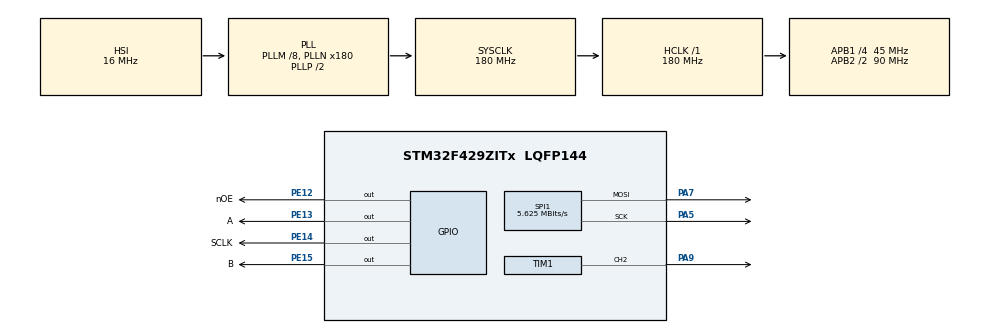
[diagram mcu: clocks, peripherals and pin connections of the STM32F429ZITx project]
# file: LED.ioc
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Mcu.Family=STM32F4
Mcu.Name=STM32F429ZITx
Mcu.Package=LQFP144
NVIC.PriorityGroup=NVIC_PRIORITYGROUP_4
NVIC.SPI1_IRQn=true\:0\:0\:false\:false\:true\:true\:true\:true
NVIC.TIM1_UP_TIM10_IRQn=true\:0\:0\:false\:false\:true\:true\:true\:true
PA13.Mode=Serial_Wire
PA13.Signal=SYS_JTMS-SWDIO
PA14.Mode=Serial_Wire
PA14.Signal=SYS_JTCK-SWCLK
PA5.Mode=TX_Only_Simplex_Unidirect_Master
PA5.Signal=SPI1_SCK
PA7.Mode=TX_Only_Simplex_Unidirect_Master
PA7.Signal=SPI1_MOSI
PA9.Signal=S_TIM1_CH2
PE12.GPIO_Label=nOE
PE12.Signal=GPIO_Output
PE13.GPIO_Label=A
PE13.Signal=GPIO_Output
PE14.GPIO_Label=SCLK
PE14.Signal=GPIO_Output
PE15.GPIO_Label=B
PE15.Signal=GPIO_Output
PH0/OSC_IN.Mode=HSE-External-Oscillator
PH0/OSC_IN.Signal=RCC_OSC_IN
PH1/OSC_OUT.Mode=HSE-External-Oscillator
PH1/OSC_OUT.Signal=RCC_OSC_OUT
ProjectManager.HeapSize=0x200
ProjectManager.StackSize=0x400
ProjectManager.TargetToolchain=STM32CubeIDE
RCC.48MHZClocksFreq_Value=90000000
RCC.AHBFreq_Value=180000000
RCC.APB1CLKDivider=RCC_HCLK_DIV4
RCC.APB1Freq_Value=45000000
RCC.APB1TimFreq_Value=90000000
RCC.APB2CLKDivider=RCC_HCLK_DIV2
RCC.APB2Freq_Value=90000000
RCC.APB2TimFreq_Value=180000000
RCC.CortexFreq_Value=180000000
RCC.HCLKFreq_Value=180000000
RCC.HSE_VALUE=25000000
RCC.HSI_VALUE=16000000
RCC.LSE_VALUE=32768
RCC.PLLM=8
RCC.PLLN=180
RCC.SYSCLKFreq_VALUE=180000000
RCC.SYSCLKSource=RCC_SYSCLKSOURCE_PLLCLK
RCC.VCOOutputFreq_Value=360000000
SH.S_TIM1_CH2.0=TIM1_CH2,Output Compare2 CH2
SPI1.BaudRatePrescaler=SPI_BAUDRATEPRESCALER_16
SPI1.CLKPolarity=SPI_POLARITY_LOW
SPI1.CalculateBaudRate=5.625 MBits/s
SPI1.DataSize=SPI_DATASIZE_8BIT
SPI1.Direction=SPI_DIRECTION_2LINES
SPI1.Mode=SPI_MODE_MASTER
SPI1.VirtualType=VM_MASTER
TIM1.Channel-Output\ Compare2\ CH2=TIM_CHANNEL_2
TIM1.Period=60000-1
TIM1.Prescaler=3000-1
VP_TIM1_VS_ClockSourceINT.Mode=Internal
board=custom

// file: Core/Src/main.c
/* USER CODE BEGIN Header */
/**
  ******************************************************************************
  * @file           : main.c
  * @brief          : Main program body
  ******************************************************************************
  * @attention
  *
  * Copyright (c) 2023 STMicroelectronics.
  * All rights reserved.
  *
  * This software is licensed under terms that can be found in the LICENSE file
  * in the root directory of this software component.
  * If no LICENSE file comes with this software, it is provided AS-IS.
  *
  ******************************************************************************
  */
/* USER CODE END Header */
#include "main.h"

/* USER CODE BEGIN Includes */
#include "../inc/P10.h"
/* USER CODE END Includes */

SPI_HandleTypeDef hspi1;

TIM_HandleTypeDef htim1;

/* USER CODE BEGIN PV */
volatile uint16_t i = 0;
volatile uint16_t k = 0;
uint8_t pData[16];
Pixel pix[8];
//координаты для передней стенки
uint16_t front_lu_angle_x = 10;
uint16_t front_lu_angle_y = 10;

uint16_t front_ru_angle_x = 16;
uint16_t front_ru_angle_y = 10;

uint16_t front_rd_angle_x = 16;
uint16_t front_rd_angle_y = 4;

uint16_t front_ld_angle_x = 10;
uint16_t front_ld_angle_y = 4;

//координаты для задней стенки
uint16_t back_lu_angle_x = 16;
uint16_t back_lu_angle_y = 10;

uint16_t back_ru_angle_x = 22;
uint16_t back_ru_angle_y = 10;

uint16_t back_rd_angle_x = 22;
uint16_t back_rd_angle_y = 4;

uint16_t back_ld_angle_x = 16;
uint16_t back_ld_angle_y = 4;

/* USER CODE END PV */

void SystemClock_Config(void);
static void MX_GPIO_Init(void);
static void MX_SPI1_Init(void);
static void MX_TIM1_Init(void);

/* USER CODE BEGIN 0 */
void part_0_0() {
	HAL_GPIO_WritePin(GPIOE, nOE_Pin, GPIO_PIN_RESET);
	HAL_GPIO_WritePin(GPIOE, A_Pin, GPIO_PIN_RESET);
	HAL_GPIO_WritePin(GPIOE, B_Pin, GPIO_PIN_RESET);
	HAL_GPIO_WritePin(GPIOE, SCLK_Pin, GPIO_PIN_RESET);
	HAL_SPI_Transmit(&hspi1, (uint8_t*) pData, 16, 10);
	HAL_GPIO_WritePin(GPIOE, SCLK_Pin, GPIO_PIN_SET);
	HAL_GPIO_WritePin(GPIOE, nOE_Pin, GPIO_PIN_SET);
}

void part_0_1() {
	HAL_GPIO_WritePin(GPIOE, nOE_Pin, GPIO_PIN_RESET);
	HAL_GPIO_WritePin(GPIOE, A_Pin, GPIO_PIN_SET);
	HAL_GPIO_WritePin(GPIOE, B_Pin, GPIO_PIN_RESET);
	HAL_GPIO_WritePin(GPIOE, SCLK_Pin, GPIO_PIN_RESET);
	HAL_SPI_Transmit(&hspi1, (uint8_t*) pData, 16, 10);
	HAL_GPIO_WritePin(GPIOE, SCLK_Pin, GPIO_PIN_SET);
	HAL_GPIO_WritePin(GPIOE, nOE_Pin, GPIO_PIN_SET);
}

void part_1_0() {
	HAL_GPIO_WritePin(GPIOE, nOE_Pin, GPIO_PIN_RESET);
	HAL_GPIO_WritePin(GPIOE, A_Pin, GPIO_PIN_RESET);
	HAL_GPIO_WritePin(GPIOE, B_Pin, GPIO_PIN_SET);
	HAL_GPIO_WritePin(GPIOE, SCLK_Pin, GPIO_PIN_RESET);
	HAL_SPI_Transmit(&hspi1, (uint8_t*) pData, 16, 10);
	HAL_GPIO_WritePin(GPIOE, SCLK_Pin, GPIO_PIN_SET);
	HAL_GPIO_WritePin(GPIOE, nOE_Pin, GPIO_PIN_SET);
}

void part_1_1() {
	HAL_GPIO_WritePin(GPIOE, nOE_Pin, GPIO_PIN_RESET);
	HAL_GPIO_WritePin(GPIOE, A_Pin, GPIO_PIN_SET);
	HAL_GPIO_WritePin(GPIOE, B_Pin, GPIO_PIN_SET);
	HAL_GPIO_WritePin(GPIOE, SCLK_Pin, GPIO_PIN_RESET);
	HAL_SPI_Transmit(&hspi1, (uint8_t*) pData, 16, 10);
	HAL_GPIO_WritePin(GPIOE, SCLK_Pin, GPIO_PIN_SET);
	HAL_GPIO_WritePin(GPIOE, nOE_Pin, GPIO_PIN_SET);
}
/* USER CODE END 0 */

int main(void)
{

  /* MCU Configuration--------------------------------------------------------*/

  /* Reset of all peripherals, Initializes the Flash interface and the Systick. */
  HAL_Init();

  /* Configure the system clock */
  SystemClock_Config();

  /* Initialize all configured peripherals */
  MX_GPIO_Init();
  MX_SPI1_Init();
  MX_TIM1_Init();
  /* USER CODE BEGIN 2 */
  HAL_TIM_Base_Start_IT(&htim1);
  /* USER CODE END 2 */

  /* Infinite loop */
  while (1)
  {

    /* USER CODE BEGIN 3 */

		//вершины передней стенки
		pix[0].x = (front_lu_angle_x + i + k);
		pix[0].y = (front_lu_angle_y - i + k);
		pix[1].x = (front_ru_angle_x - i - k);
		pix[1].y = (front_ru_angle_y + i - k);
		pix[2].x = (front_rd_angle_x - i - k);
		pix[2].y = (front_rd_angle_y + i - k);
		pix[3].x = (front_ld_angle_x + i + k);
		pix[3].y = (front_ld_angle_y - i + k);
		//вершины задней стенки
		pix[4].x = (back_lu_angle_x + i + k);
		pix[4].y = (back_lu_angle_y - i + k);
		pix[5].x = (back_ru_angle_x - i - k);
		pix[5].y = (back_ru_angle_y + i - k);
		pix[6].x = (back_rd_angle_x - i - k);
		pix[6].y = (back_rd_angle_y + i - k);
		pix[7].x = (back_ld_angle_x + i + k);
		pix[7].y = (back_ld_angle_y - i + k);
//передняя стенка
//1
		clearScreen((uint8_t*) &pData);
		drawLine(pix[0], pix[1], (uint8_t*) &pData, P10AB_11);
		part_1_1();
		clearScreen((uint8_t*) &pData);
		drawLine(pix[0], pix[1], (uint8_t*) &pData, P10AB_10);
		part_1_0();
		clearScreen((uint8_t*) &pData);
		drawLine(pix[0], pix[1], (uint8_t*) &pData, P10AB_01);
		part_0_1();
		clearScreen((uint8_t*) &pData);
		drawLine(pix[0], pix[1], (uint8_t*) &pData, P10AB_00);
		part_0_0();
//2
		clearScreen((uint8_t*) &pData);
		drawLine(pix[1], pix[2], (uint8_t*) &pData, P10AB_11);
		part_1_1();
		clearScreen((uint8_t*) &pData);
		drawLine(pix[1], pix[2], (uint8_t*) &pData, P10AB_10);
		part_1_0();
		clearScreen((uint8_t*) &pData);
		drawLine(pix[1], pix[2], (uint8_t*) &pData, P10AB_01);
		part_0_1();
		clearScreen((uint8_t*) &pData);
		drawLine(pix[1], pix[2], (uint8_t*) &pData, P10AB_00);
		part_0_0();
//3
		clearScreen((uint8_t*) &pData);
		drawLine(pix[2], pix[3], (uint8_t*) &pData, P10AB_11);
		part_1_1();
		clearScreen((uint8_t*) &pData);
		drawLine(pix[2], pix[3], (uint8_t*) &pData, P10AB_10);
		part_1_0();
		clearScreen((uint8_t*) &pData);
		drawLine(pix[2], pix[3], (uint8_t*) &pData, P10AB_01);
		part_0_1();
		clearScreen((uint8_t*) &pData);
		drawLine(pix[2], pix[3], (uint8_t*) &pData, P10AB_00);
		part_0_0();
//4
		clearScreen((uint8_t*) &pData);
		drawLine(pix[0], pix[3], (uint8_t*) &pData, P10AB_11);
		part_1_1();
		clearScreen((uint8_t*) &pData);
		drawLine(pix[0], pix[3], (uint8_t*) &pData, P10AB_10);
		part_1_0();
		clearScreen((uint8_t*) &pData);
		drawLine(pix[0], pix[3], (uint8_t*) &pData, P10AB_01);
		part_0_1();
		clearScreen((uint8_t*) &pData);
		drawLine(pix[0], pix[3], (uint8_t*) &pData, P10AB_00);
		part_0_0();

//задняя стенка
//1
		clearScreen((uint8_t*) pData);
		drawLine(pix[4], pix[5], (uint8_t*) pData, P10AB_11);
		part_1_1();
		clearScreen((uint8_t*) pData);
		drawLine(pix[4], pix[5], (uint8_t*) pData, P10AB_10);
		part_1_0();
		clearScreen((uint8_t*) pData);
		drawLine(pix[4], pix[5], (uint8_t*) pData, P10AB_01);
		part_0_1();
		clearScreen((uint8_t*) pData);
		drawLine(pix[4], pix[5], (uint8_t*) pData, P10AB_00);
		part_0_0();
//2
		clearScreen((uint8_t*) pData);
		drawLine(pix[5], pix[6], (uint8_t*) pData, P10AB_11);
		part_1_1();
		clearScreen((uint8_t*) pData);
		drawLine(pix[5], pix[6], (uint8_t*) pData, P10AB_10);
		part_1_0();
		clearScreen((uint8_t*) pData);
		drawLine(pix[5], pix[6], (uint8_t*) pData, P10AB_01);
		part_0_1();
		clearScreen((uint8_t*) pData);
		drawLine(pix[5], pix[6], (uint8_t*) pData, P10AB_00);
		part_0_0();
//3
		clearScreen((uint8_t*) pData);
		drawLine(pix[6], pix[7], (uint8_t*) pData, P10AB_11);
		part_1_1();
		clearScreen((uint8_t*) pData);
		drawLine(pix[6], pix[7], (uint8_t*) pData, P10AB_10);
		part_1_0();
		clearScreen((uint8_t*) pData);
		drawLine(pix[6], pix[7], (uint8_t*) pData, P10AB_01);
		part_0_1();
		clearScreen((uint8_t*) pData);
		drawLine(pix[6], pix[7], (uint8_t*) pData, P10AB_00);
		part_0_0();
//4
		clearScreen((uint8_t*) pData);
		drawLine(pix[7], pix[4], (uint8_t*) pData, P10AB_11);
		part_1_1();
		clearScreen((uint8_t*) pData);
		drawLine(pix[7], pix[4], (uint8_t*) pData, P10AB_10);
		part_1_0();
		clearScreen((uint8_t*) pData);
		drawLine(pix[7], pix[4], (uint8_t*) pData, P10AB_01);
		part_0_1();
		clearScreen((uint8_t*) pData);
		drawLine(pix[7], pix[4], (uint8_t*) pData, P10AB_00);
		part_0_0();

//соединения
//1
		clearScreen((uint8_t*) pData);
		drawLine(pix[0], pix[4], (uint8_t*) pData, P10AB_11);
		part_1_1();
		clearScreen((uint8_t*) pData);
		drawLine(pix[0], pix[4], (uint8_t*) pData, P10AB_10);
		part_1_0();
		clearScreen((uint8_t*) pData);
		drawLine(pix[0], pix[4], (uint8_t*) pData, P10AB_01);
		part_0_1();
		clearScreen((uint8_t*) pData);
		drawLine(pix[0], pix[4], (uint8_t*) pData, P10AB_00);
		part_0_0();
//2
		clearScreen((uint8_t*) pData);
		drawLine(pix[1], pix[5], (uint8_t*) pData, P10AB_11);
		part_1_1();
		clearScreen((uint8_t*) pData);
		drawLine(pix[1], pix[5], (uint8_t*) pData, P10AB_10);
		part_1_0();
		clearScreen((uint8_t*) pData);
		drawLine(pix[1], pix[5], (uint8_t*) pData, P10AB_01);
		part_0_1();
		clearScreen((uint8_t*) pData);
		drawLine(pix[1], pix[5], (uint8_t*) pData, P10AB_00);
		part_0_0();
//3
		clearScreen((uint8_t*) pData);
		drawLine(pix[2], pix[6], (uint8_t*) pData, P10AB_11);
		part_1_1();
		clearScreen((uint8_t*) pData);
		drawLine(pix[2], pix[6], (uint8_t*) pData, P10AB_10);
		part_1_0();
		clearScreen((uint8_t*) pData);
		drawLine(pix[2], pix[6], (uint8_t*) pData, P10AB_01);
		part_0_1();
		clearScreen((uint8_t*) pData);
		drawLine(pix[2], pix[6], (uint8_t*) pData, P10AB_00);
		part_0_0();
//4
		clearScreen((uint8_t*) pData);
		drawLine(pix[3], pix[7], (uint8_t*) pData, P10AB_11);
		part_1_1();
		clearScreen((uint8_t*) pData);
		drawLine(pix[3], pix[7], (uint8_t*) pData, P10AB_10);
		part_1_0();
		clearScreen((uint8_t*) pData);
		drawLine(pix[3], pix[7], (uint8_t*) pData, P10AB_01);
		part_0_1();
		clearScreen((uint8_t*) pData);
		drawLine(pix[3], pix[7], (uint8_t*) pData, P10AB_00);
		part_0_0();
	}

  /* USER CODE END 3 */
}

void SystemClock_Config(void)
{
  RCC_OscInitTypeDef RCC_OscInitStruct = {0};
  RCC_ClkInitTypeDef RCC_ClkInitStruct = {0};

  /** Configure the main internal regulator output voltage
  */
  __HAL_RCC_PWR_CLK_ENABLE();
  __HAL_PWR_VOLTAGESCALING_CONFIG(PWR_REGULATOR_VOLTAGE_SCALE1);

  /** Initializes the RCC Oscillators according to the specified parameters
  * in the RCC_OscInitTypeDef structure.
  */
  RCC_OscInitStruct.OscillatorType = RCC_OSCILLATORTYPE_HSI;
  RCC_OscInitStruct.HSIState = RCC_HSI_ON;
  RCC_OscInitStruct.HSICalibrationValue = RCC_HSICALIBRATION_DEFAULT;
  RCC_OscInitStruct.PLL.PLLState = RCC_PLL_ON;
  RCC_OscInitStruct.PLL.PLLSource = RCC_PLLSOURCE_HSI;
  RCC_OscInitStruct.PLL.PLLM = 8;
  RCC_OscInitStruct.PLL.PLLN = 180;
  RCC_OscInitStruct.PLL.PLLP = RCC_PLLP_DIV2;
  RCC_OscInitStruct.PLL.PLLQ = 4;
  if (HAL_RCC_OscConfig(&RCC_OscInitStruct) != HAL_OK)
  {
    Error_Handler();
  }

  /** Activate the Over-Drive mode
  */
  if (HAL_PWREx_EnableOverDrive() != HAL_OK)
  {
    Error_Handler();
  }

  /** Initializes the CPU, AHB and APB buses clocks
  */
  RCC_ClkInitStruct.ClockType = RCC_CLOCKTYPE_HCLK|RCC_CLOCKTYPE_SYSCLK
                              |RCC_CLOCKTYPE_PCLK1|RCC_CLOCKTYPE_PCLK2;
  RCC_ClkInitStruct.SYSCLKSource = RCC_SYSCLKSOURCE_PLLCLK;
  RCC_ClkInitStruct.AHBCLKDivider = RCC_SYSCLK_DIV1;
  RCC_ClkInitStruct.APB1CLKDivider = RCC_HCLK_DIV4;
  RCC_ClkInitStruct.APB2CLKDivider = RCC_HCLK_DIV2;

  if (HAL_RCC_ClockConfig(&RCC_ClkInitStruct, FLASH_LATENCY_5) != HAL_OK)
  {
    Error_Handler();
  }
}

static void MX_SPI1_Init(void)
{

  /* SPI1 parameter configuration*/
  hspi1.Instance = SPI1;
  hspi1.Init.Mode = SPI_MODE_MASTER;
  hspi1.Init.Direction = SPI_DIRECTION_2LINES;
  hspi1.Init.DataSize = SPI_DATASIZE_8BIT;
  hspi1.Init.CLKPolarity = SPI_POLARITY_LOW;
  hspi1.Init.CLKPhase = SPI_PHASE_1EDGE;
  hspi1.Init.NSS = SPI_NSS_SOFT;
  hspi1.Init.BaudRatePrescaler = SPI_BAUDRATEPRESCALER_16;
  hspi1.Init.FirstBit = SPI_FIRSTBIT_MSB;
  hspi1.Init.TIMode = SPI_TIMODE_DISABLE;
  hspi1.Init.CRCCalculation = SPI_CRCCALCULATION_DISABLE;
  hspi1.Init.CRCPolynomial = 10;
  if (HAL_SPI_Init(&hspi1) != HAL_OK)
  {
    Error_Handler();
  }

}

static void MX_TIM1_Init(void)
{

  TIM_ClockConfigTypeDef sClockSourceConfig = {0};
  TIM_MasterConfigTypeDef sMasterConfig = {0};
  TIM_OC_InitTypeDef sConfigOC = {0};
  TIM_BreakDeadTimeConfigTypeDef sBreakDeadTimeConfig = {0};

  htim1.Instance = TIM1;
  htim1.Init.Prescaler = 3000-1;
  htim1.Init.CounterMode = TIM_COUNTERMODE_UP;
  htim1.Init.Period = 60000-1;
  htim1.Init.ClockDivision = TIM_CLOCKDIVISION_DIV1;
  htim1.Init.RepetitionCounter = 0;
  htim1.Init.AutoReloadPreload = TIM_AUTORELOAD_PRELOAD_DISABLE;
  if (HAL_TIM_Base_Init(&htim1) != HAL_OK)
  {
    Error_Handler();
  }
  sClockSourceConfig.ClockSource = TIM_CLOCKSOURCE_INTERNAL;
  if (HAL_TIM_ConfigClockSource(&htim1, &sClockSourceConfig) != HAL_OK)
  {
    Error_Handler();
  }
  if (HAL_TIM_OC_Init(&htim1) != HAL_OK)
  {
    Error_Handler();
  }
  sMasterConfig.MasterOutputTrigger = TIM_TRGO_RESET;
  sMasterConfig.MasterSlaveMode = TIM_MASTERSLAVEMODE_DISABLE;
  if (HAL_TIMEx_MasterConfigSynchronization(&htim1, &sMasterConfig) != HAL_OK)
  {
    Error_Handler();
  }
  sConfigOC.OCMode = TIM_OCMODE_TIMING;
  sConfigOC.Pulse = 0;
  sConfigOC.OCPolarity = TIM_OCPOLARITY_HIGH;
  sConfigOC.OCNPolarity = TIM_OCNPOLARITY_HIGH;
  sConfigOC.OCFastMode = TIM_OCFAST_DISABLE;
  sConfigOC.OCIdleState = TIM_OCIDLESTATE_RESET;
  sConfigOC.OCNIdleState = TIM_OCNIDLESTATE_RESET;
  if (HAL_TIM_OC_ConfigChannel(&htim1, &sConfigOC, TIM_CHANNEL_2) != HAL_OK)
  {
    Error_Handler();
  }
  sBreakDeadTimeConfig.OffStateRunMode = TIM_OSSR_DISABLE;
  sBreakDeadTimeConfig.OffStateIDLEMode = TIM_OSSI_DISABLE;
  sBreakDeadTimeConfig.LockLevel = TIM_LOCKLEVEL_OFF;
  sBreakDeadTimeConfig.DeadTime = 0;
  sBreakDeadTimeConfig.BreakState = TIM_BREAK_DISABLE;
  sBreakDeadTimeConfig.BreakPolarity = TIM_BREAKPOLARITY_HIGH;
  sBreakDeadTimeConfig.AutomaticOutput = TIM_AUTOMATICOUTPUT_DISABLE;
  if (HAL_TIMEx_ConfigBreakDeadTime(&htim1, &sBreakDeadTimeConfig) != HAL_OK)
  {
    Error_Handler();
  }
  HAL_TIM_MspPostInit(&htim1);

}

static void MX_GPIO_Init(void)
{
  GPIO_InitTypeDef GPIO_InitStruct = {0};

  /* GPIO Ports Clock Enable */
  __HAL_RCC_GPIOC_CLK_ENABLE();
  __HAL_RCC_GPIOH_CLK_ENABLE();
  __HAL_RCC_GPIOA_CLK_ENABLE();
  __HAL_RCC_GPIOE_CLK_ENABLE();

  /*Configure GPIO pin Output Level */
  HAL_GPIO_WritePin(GPIOE, nOE_Pin|A_Pin|SCLK_Pin|B_Pin, GPIO_PIN_RESET);

  /*Configure GPIO pin : but_Pin */
  GPIO_InitStruct.Pin = but_Pin;
  GPIO_InitStruct.Mode = GPIO_MODE_INPUT;
  GPIO_InitStruct.Pull = GPIO_NOPULL;
  HAL_GPIO_Init(but_GPIO_Port, &GPIO_InitStruct);

  /*Configure GPIO pins : nOE_Pin A_Pin SCLK_Pin B_Pin */
  GPIO_InitStruct.Pin = nOE_Pin|A_Pin|SCLK_Pin|B_Pin;
  GPIO_InitStruct.Mode = GPIO_MODE_OUTPUT_PP;
  GPIO_InitStruct.Pull = GPIO_NOPULL;
  GPIO_InitStruct.Speed = GPIO_SPEED_FREQ_LOW;
  HAL_GPIO_Init(GPIOE, &GPIO_InitStruct);

}

void Error_Handler(void)
{
  __disable_irq();
  while (1)
  {
  }
}
